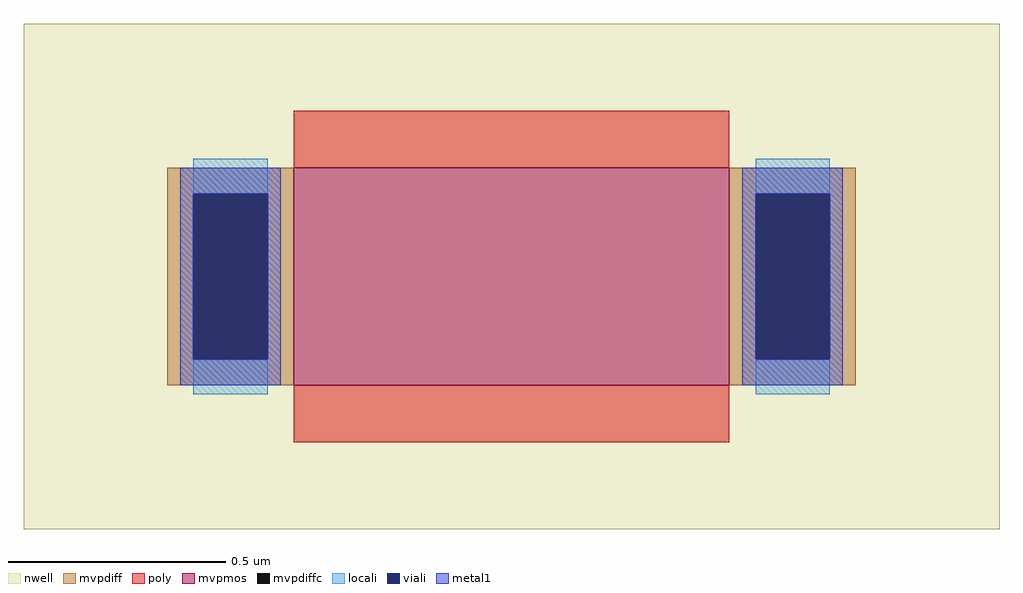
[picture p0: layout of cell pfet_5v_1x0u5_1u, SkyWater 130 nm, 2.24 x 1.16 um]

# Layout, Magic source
magic
tech sky130A
<< nwell >>
rect -50 -11 174 105
<< mvpmos >>
rect 12 22 112 72
<< mvpdiff >>
rect -17 66 12 72
rect -17 28 -11 66
rect 6 28 12 66
rect -17 22 12 28
rect 112 66 141 72
rect 112 28 118 66
rect 135 28 141 66
rect 112 22 141 28
<< mvpdiffc >>
rect -11 28 6 66
rect 118 28 135 66
<< poly >>
rect 12 72 112 85
rect 12 9 112 22
<< locali >>
rect -11 66 6 74
rect -11 20 6 28
rect 118 66 135 74
rect 118 20 135 28
<< viali >>
rect -11 28 6 66
rect 118 28 135 66
<< metal1 >>
rect -14 66 9 72
rect -14 28 -11 66
rect 6 28 9 66
rect -14 22 9 28
rect 115 66 138 72
rect 115 28 118 66
rect 135 28 138 66
rect 115 22 138 28
<< end >>
